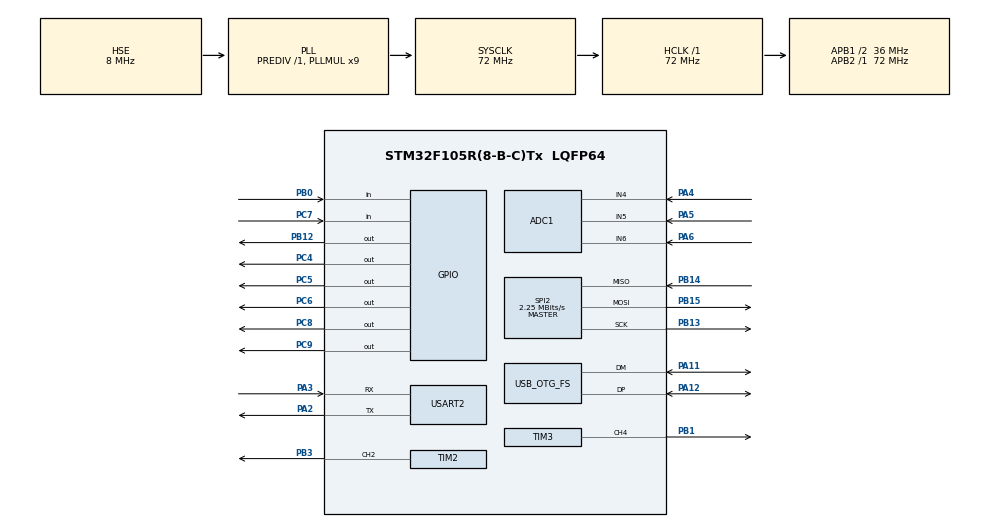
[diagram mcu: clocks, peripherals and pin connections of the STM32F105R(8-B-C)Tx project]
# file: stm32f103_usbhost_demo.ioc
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ADC1.Channel-1\#ChannelRegularConversion=ADC_CHANNEL_4
ADC1.Channel-2\#ChannelRegularConversion=ADC_CHANNEL_5
ADC1.Channel-3\#ChannelRegularConversion=ADC_CHANNEL_6
ADC1.ContinuousConvMode=ENABLE
ADC1.NbrOfConversion=3
ADC1.NbrOfConversionFlag=1
ADC1.Rank-1\#ChannelRegularConversion=1
ADC1.Rank-2\#ChannelRegularConversion=2
ADC1.Rank-3\#ChannelRegularConversion=3
ADC1.SamplingTime-1\#ChannelRegularConversion=ADC_SAMPLETIME_239CYCLES_5
ADC1.SamplingTime-2\#ChannelRegularConversion=ADC_SAMPLETIME_239CYCLES_5
ADC1.SamplingTime-3\#ChannelRegularConversion=ADC_SAMPLETIME_239CYCLES_5
ADC1.master=1
Dma.ADC1.2.Direction=DMA_PERIPH_TO_MEMORY
Dma.ADC1.2.Instance=DMA1_Channel1
Dma.ADC1.2.MemDataAlignment=DMA_MDATAALIGN_HALFWORD
Dma.ADC1.2.MemInc=DMA_MINC_ENABLE
Dma.ADC1.2.Mode=DMA_CIRCULAR
Dma.ADC1.2.PeriphDataAlignment=DMA_PDATAALIGN_HALFWORD
Dma.ADC1.2.PeriphInc=DMA_PINC_DISABLE
Dma.ADC1.2.Priority=DMA_PRIORITY_LOW
Dma.Request0=TIM3_CH4/UP
Dma.Request1=SPI2_TX
Dma.Request2=ADC1
Dma.SPI2_TX.1.Direction=DMA_MEMORY_TO_PERIPH
Dma.SPI2_TX.1.Instance=DMA1_Channel5
Dma.SPI2_TX.1.MemDataAlignment=DMA_MDATAALIGN_BYTE
Dma.SPI2_TX.1.MemInc=DMA_MINC_ENABLE
Dma.SPI2_TX.1.Mode=DMA_NORMAL
Dma.SPI2_TX.1.PeriphDataAlignment=DMA_PDATAALIGN_BYTE
Dma.SPI2_TX.1.PeriphInc=DMA_PINC_DISABLE
Dma.SPI2_TX.1.Priority=DMA_PRIORITY_VERY_HIGH
Dma.TIM3_CH4/UP.0.Direction=DMA_MEMORY_TO_PERIPH
Dma.TIM3_CH4/UP.0.Instance=DMA1_Channel3
Dma.TIM3_CH4/UP.0.MemDataAlignment=DMA_MDATAALIGN_HALFWORD
Dma.TIM3_CH4/UP.0.MemInc=DMA_MINC_ENABLE
Dma.TIM3_CH4/UP.0.Mode=DMA_NORMAL
Dma.TIM3_CH4/UP.0.PeriphDataAlignment=DMA_PDATAALIGN_HALFWORD
Dma.TIM3_CH4/UP.0.PeriphInc=DMA_PINC_DISABLE
Dma.TIM3_CH4/UP.0.Priority=DMA_PRIORITY_LOW
FATFS._USE_FIND=1
FATFS._USE_MKFS=0
FREERTOS.Tasks01=defaultTask,0,256,StartDefaultTask,Default,NULL,Dynamic,NULL,NULL;myTask02,-3,256,StartTask02,Default,NULL,Dynamic,NULL,NULL
Mcu.Family=STM32F1
Mcu.Name=STM32F105R(8-B-C)Tx
Mcu.Package=LQFP64
NVIC.ADC1_2_IRQn=true\:5\:0\:false\:false\:true\:true\:true\:true\:true
NVIC.DMA1_Channel1_IRQn=true\:5\:0\:false\:false\:true\:true\:false\:true\:true
NVIC.DMA1_Channel3_IRQn=true\:5\:0\:false\:false\:true\:true\:false\:true\:true
NVIC.DMA1_Channel5_IRQn=true\:5\:0\:false\:false\:true\:true\:false\:true\:true
NVIC.OTG_FS_IRQn=true\:5\:0\:false\:false\:true\:true\:true\:true\:true
NVIC.PriorityGroup=NVIC_PRIORITYGROUP_4
NVIC.TIM3_IRQn=true\:5\:0\:false\:false\:true\:true\:true\:true\:true
NVIC.TIM7_IRQn=true\:15\:0\:false\:false\:true\:false\:false\:true\:true
NVIC.TimeBase=TIM7_IRQn
NVIC.TimeBaseIP=TIM7
NVIC.USART2_IRQn=true\:5\:0\:false\:false\:true\:true\:true\:true\:true
PA11.Mode=Host_Only
PA11.Signal=USB_OTG_FS_DM
PA12.Mode=Host_Only
PA12.Signal=USB_OTG_FS_DP
PA13.Mode=Serial_Wire
PA13.Signal=SYS_JTMS-SWDIO
PA14.Mode=Serial_Wire
PA14.Signal=SYS_JTCK-SWCLK
PA2.Mode=Asynchronous
PA2.Signal=USART2_TX
PA3.Mode=Asynchronous
PA3.Signal=USART2_RX
PA4.Signal=ADCx_IN4
PA5.Signal=ADCx_IN5
PA6.Signal=ADCx_IN6
PB0.Signal=GPIO_Input
PB1.Signal=S_TIM3_CH4
PB12.Signal=GPIO_Output
PB13.Mode=Full_Duplex_Master
PB13.Signal=SPI2_SCK
PB14.Mode=Full_Duplex_Master
PB14.Signal=SPI2_MISO
PB15.Mode=Full_Duplex_Master
PB15.Signal=SPI2_MOSI
PB3.Signal=S_TIM2_CH2
PC14-OSC32_IN.Mode=LSE-External-Oscillator
PC14-OSC32_IN.Signal=RCC_OSC32_IN
PC15-OSC32_OUT.Mode=LSE-External-Oscillator
PC15-OSC32_OUT.Signal=RCC_OSC32_OUT
PC4.Signal=GPIO_Output
PC5.Signal=GPIO_Output
PC6.Signal=GPIO_Output
PC7.GPIO_PuPd=GPIO_PULLUP
PC7.Signal=GPIO_Input
PC8.Signal=GPIO_Output
PC9.GPIO_ModeDefaultOutputPP=GPIO_MODE_OUTPUT_OD
PC9.GPIO_PuPd=GPIO_NOPULL
PC9.GPIO_Speed=GPIO_SPEED_FREQ_LOW
PC9.PinState=GPIO_PIN_RESET
PC9.Signal=GPIO_Output
PD0-OSC_IN.Mode=HSE-External-Oscillator
PD0-OSC_IN.Signal=RCC_OSC_IN
PD1-OSC_OUT.Mode=HSE-External-Oscillator
PD1-OSC_OUT.Signal=RCC_OSC_OUT
ProjectManager.HeapSize=0x2000
ProjectManager.StackSize=0x2000
ProjectManager.TargetToolchain=MDK-ARM V5.32
RCC.ADCPresc=RCC_ADCPCLK2_DIV6
RCC.AHBFreq_Value=72000000
RCC.APB1CLKDivider=RCC_HCLK_DIV2
RCC.APB1Freq_Value=36000000
RCC.APB1TimFreq_Value=72000000
RCC.APB2Freq_Value=72000000
RCC.APB2TimFreq_Value=72000000
RCC.HCLKFreq_Value=72000000
RCC.PLLMUL=RCC_PLL_MUL9
RCC.SYSCLKFreq_VALUE=72000000
RCC.SYSCLKSource=RCC_SYSCLKSOURCE_PLLCLK
RCC.USBFreq_Value=48000000
SH.ADCx_IN4.0=ADC1_IN4,IN4
SH.ADCx_IN5.0=ADC1_IN5,IN5
SH.ADCx_IN6.0=ADC1_IN6,IN6
SH.S_TIM2_CH2.0=TIM2_CH2,PWM Generation2 CH2
SH.S_TIM3_CH4.0=TIM3_CH4,PWM Generation4 CH4
SPI2.BaudRatePrescaler=SPI_BAUDRATEPRESCALER_16
SPI2.CalculateBaudRate=2.25 MBits/s
SPI2.Direction=SPI_DIRECTION_2LINES
SPI2.Mode=SPI_MODE_MASTER
SPI2.VirtualType=VM_MASTER
TIM2.Channel-PWM\ Generation2\ CH2=TIM_CHANNEL_2
TIM2.Period=7200 - 1
TIM3.Channel-PWM\ Generation4\ CH4=TIM_CHANNEL_4
TIM3.Period=89
USART2.VirtualMode=VM_ASYNC
USB_HOST.USBH_DEBUG_LEVEL=3
USB_HOST.USBH_HandleTypeDef=hUsbHostFS
USB_HOST.USBH_USE_OS-MSC_FS=0
USB_HOST.VirtualModeFS=Msc
USB_OTG_FS.VirtualMode=Host_Only
VP_FATFS_VS_USB.Mode=USB
VP_FREERTOS_VS_CMSIS_V1.Mode=CMSIS_V1
VP_SYS_VS_tim7.Mode=TIM7
VP_TIM2_VS_ClockSourceINT.Mode=Internal
VP_TIM3_VS_ClockSourceINT.Mode=Internal
VP_USB_HOST_VS_USB_HOST_MSC_FS.Mode=MSC_FS
board=custom

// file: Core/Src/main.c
/* USER CODE BEGIN Header */
/**
  ******************************************************************************
  * @file           : main.c
  * @brief          : Main program body
  ******************************************************************************
  * @attention
  *
  * Copyright (c) 2024 STMicroelectronics.
  * All rights reserved.
  *
  * This software is licensed under terms that can be found in the LICENSE file
  * in the root directory of this software component.
  * If no LICENSE file comes with this software, it is provided AS-IS.
  *
  ******************************************************************************
  */
/* USER CODE END Header */
#include "main.h"
#include "cmsis_os.h"
#include "adc.h"
#include "dma.h"
#include "fatfs.h"
#include "spi.h"
#include "tim.h"
#include "usart.h"
#include "usb_host.h"
#include "gpio.h"

/* USER CODE BEGIN Includes */
#include "ws2812.h"
#include "vs1003.h"
#include "playaudio.h"
/* USER CODE END Includes */

/* USER CODE BEGIN PD */
FATFS USBDISKFatFs;           /* File system object for USB disk logical drive */
FIL MyFile;                   /* File object */
uint16_t adcBuff[3] = {0};
extern ApplicationTypeDef Appli_state;
extern USBH_HandleTypeDef hUsbHostFS;
extern ApplicationTypeDef Appli_state;
/* USER CODE END PD */

void SystemClock_Config(void);
void MX_FREERTOS_Init(void);

/* USER CODE BEGIN 0 */
void Traverse_Directory(const char* path)
{
    FRESULT fr;
    DIR dir;
    FILINFO fno;

    fr = f_opendir(&dir, path); /* 打开目录 */
    if (fr == FR_OK)
    {
			for (;;)
			 {
					fr = f_readdir(&dir, &fno); /* 读取一个目录项 */
					if (fr != FR_OK || fno.fname[0] == 0) break;
					if (fno.fname[0] == '.') continue;
					// 如果是子目录，递归遍历
					if (fno.fattrib & AM_DIR)
					{
							char subdir[64];
							sprintf(subdir, "%s/%s", path, fno.fname);
							Traverse_Directory(subdir);
					} else
					{
							// 如果是文件，可以在这里处理
							printf("%s/%s\n", path, fno.fname);
					}
			}
			f_closedir(&dir); /* 关闭目录 */
    }
}

void MSC_Application(void)
{
  FRESULT res;                                          /* FatFs function common result code */
  res = f_mount(&USBDISKFatFs, (TCHAR const*)USBHPath, 0);
  if(res != FR_OK)
  {
    /* FatFs Initialization Error */
    USBH_UsrLog("f_mount error: %d", res);
    Error_Handler();
  }
	/* 遍历目录 */
	Traverse_Directory("0:");
	VS1003_PlayMusic_2("0:/111.mp3");
  /* Unlink the USB disk I/O driver */
//  FATFS_UnLinkDriver(USBHPath);
}

/* USER CODE END 0 */

int main(void)
{

  /* MCU Configuration--------------------------------------------------------*/

  /* Reset of all peripherals, Initializes the Flash interface and the Systick. */
  HAL_Init();

  /* Configure the system clock */
  SystemClock_Config();

  /* Initialize all configured peripherals */
  MX_GPIO_Init();
  MX_DMA_Init();
  MX_FATFS_Init();
  MX_USART2_UART_Init();
  MX_TIM3_Init();
  MX_SPI2_Init();
  MX_ADC1_Init();
  MX_TIM2_Init();
  /* USER CODE BEGIN 2 */

	HAL_ADCEx_Calibration_Start(&hadc1);
	HAL_ADC_Start_DMA(&hadc1, (uint32_t *)adcBuff, 3);
	WS2812B_Init();

	VS1003_Reset();
	VS1003_SoftReset();
	printf("run..\r\n");
//	VS1003_RamTest();
	//printf("mode register val = %0x..\r\n", VS1003_ReadReg(SPI_MODE));
//	VS1003_CheckSCICmdReady();
//	VS1003_PlayMusic();

  /* USER CODE END 2 */

  /* Call init function for freertos objects (in freertos.c) */
  MX_FREERTOS_Init();

  /* Start scheduler */
  osKernelStart();

  /* We should never get here as control is now taken by the scheduler */
  /* Infinite loop */
  while (1)
  {

    /* USER CODE BEGIN 3 */
		switch(Appli_state)
    {
      case APPLICATION_READY:
        printf("ready ok\n");
				MSC_Application();
        Appli_state = APPLICATION_IDLE;
        break;

      case APPLICATION_IDLE:
      default:
        break;
    }
		rainbowCycle(5);
		WS2812_show();
		printf("%d,%d,%d\r\n", adcBuff[0], adcBuff[1], adcBuff[2]);

  }
  /* USER CODE END 3 */
}

void SystemClock_Config(void)
{
  RCC_OscInitTypeDef RCC_OscInitStruct = {0};
  RCC_ClkInitTypeDef RCC_ClkInitStruct = {0};
  RCC_PeriphCLKInitTypeDef PeriphClkInit = {0};

  /** Initializes the RCC Oscillators according to the specified parameters
  * in the RCC_OscInitTypeDef structure.
  */
  RCC_OscInitStruct.OscillatorType = RCC_OSCILLATORTYPE_HSE;
  RCC_OscInitStruct.HSEState = RCC_HSE_ON;
  RCC_OscInitStruct.HSEPredivValue = RCC_HSE_PREDIV_DIV1;
  RCC_OscInitStruct.HSIState = RCC_HSI_ON;
  RCC_OscInitStruct.Prediv1Source = RCC_PREDIV1_SOURCE_HSE;
  RCC_OscInitStruct.PLL.PLLState = RCC_PLL_ON;
  RCC_OscInitStruct.PLL.PLLSource = RCC_PLLSOURCE_HSE;
  RCC_OscInitStruct.PLL.PLLMUL = RCC_PLL_MUL9;
  RCC_OscInitStruct.PLL2.PLL2State = RCC_PLL_NONE;
  if (HAL_RCC_OscConfig(&RCC_OscInitStruct) != HAL_OK)
  {
    Error_Handler();
  }

  /** Initializes the CPU, AHB and APB buses clocks
  */
  RCC_ClkInitStruct.ClockType = RCC_CLOCKTYPE_HCLK|RCC_CLOCKTYPE_SYSCLK
                              |RCC_CLOCKTYPE_PCLK1|RCC_CLOCKTYPE_PCLK2;
  RCC_ClkInitStruct.SYSCLKSource = RCC_SYSCLKSOURCE_PLLCLK;
  RCC_ClkInitStruct.AHBCLKDivider = RCC_SYSCLK_DIV1;
  RCC_ClkInitStruct.APB1CLKDivider = RCC_HCLK_DIV2;
  RCC_ClkInitStruct.APB2CLKDivider = RCC_HCLK_DIV1;

  if (HAL_RCC_ClockConfig(&RCC_ClkInitStruct, FLASH_LATENCY_2) != HAL_OK)
  {
    Error_Handler();
  }
  PeriphClkInit.PeriphClockSelection = RCC_PERIPHCLK_ADC|RCC_PERIPHCLK_USB;
  PeriphClkInit.AdcClockSelection = RCC_ADCPCLK2_DIV6;
  PeriphClkInit.UsbClockSelection = RCC_USBCLKSOURCE_PLL_DIV3;
  if (HAL_RCCEx_PeriphCLKConfig(&PeriphClkInit) != HAL_OK)
  {
    Error_Handler();
  }

  /** Configure the Systick interrupt time
  */
  __HAL_RCC_PLLI2S_ENABLE();
}

void HAL_TIM_PeriodElapsedCallback(TIM_HandleTypeDef *htim)
{
  if (htim->Instance == TIM7) {
    HAL_IncTick();
  }
}

void Error_Handler(void)
{
  __disable_irq();
  while (1)
  {
  }
}

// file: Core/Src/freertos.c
/* USER CODE BEGIN Header */
/**
  ******************************************************************************
  * File Name          : freertos.c
  * Description        : Code for freertos applications
  ******************************************************************************
  * @attention
  *
  * Copyright (c) 2024 STMicroelectronics.
  * All rights reserved.
  *
  * This software is licensed under terms that can be found in the LICENSE file
  * in the root directory of this software component.
  * If no LICENSE file comes with this software, it is provided AS-IS.
  *
  ******************************************************************************
  */
/* USER CODE END Header */

#include "FreeRTOS.h"
#include "task.h"
#include "main.h"
#include "cmsis_os.h"

/* USER CODE BEGIN Includes */
#include "usbh_core.h"
#include "usb_host.h"
#include "ws2812.h"
#include "gpio.h"
/* USER CODE END Includes */

/* USER CODE BEGIN PTD */
extern USBH_HandleTypeDef hUsbHostFS;
extern ApplicationTypeDef Appli_state;
extern UART_HandleTypeDef huart2;
/* USER CODE END PTD */

osThreadId defaultTaskHandle;
osThreadId myTask02Handle;

void StartDefaultTask(void const * argument);
void StartTask02(void const * argument);

extern void MX_USB_HOST_Init(void);
void MX_FREERTOS_Init(void); /* (MISRA C 2004 rule 8.1) */

/* GetIdleTaskMemory prototype (linked to static allocation support) */
void vApplicationGetIdleTaskMemory( StaticTask_t **ppxIdleTaskTCBBuffer, StackType_t **ppxIdleTaskStackBuffer, uint32_t *pulIdleTaskStackSize );

/* USER CODE BEGIN GET_IDLE_TASK_MEMORY */
static StaticTask_t xIdleTaskTCBBuffer;
static StackType_t xIdleStack[configMINIMAL_STACK_SIZE];

void vApplicationGetIdleTaskMemory( StaticTask_t **ppxIdleTaskTCBBuffer, StackType_t **ppxIdleTaskStackBuffer, uint32_t *pulIdleTaskStackSize )
{
  *ppxIdleTaskTCBBuffer = &xIdleTaskTCBBuffer;
  *ppxIdleTaskStackBuffer = &xIdleStack[0];
  *pulIdleTaskStackSize = configMINIMAL_STACK_SIZE;
  /* place for user code */
}
/* USER CODE END GET_IDLE_TASK_MEMORY */

void MX_FREERTOS_Init(void) {

  /* Create the thread(s) */
  /* definition and creation of defaultTask */
  osThreadDef(defaultTask, StartDefaultTask, osPriorityNormal, 0, 256);
  defaultTaskHandle = osThreadCreate(osThread(defaultTask), NULL);

  /* definition and creation of myTask02 */
  osThreadDef(myTask02, StartTask02, osPriorityIdle, 0, 256);
  myTask02Handle = osThreadCreate(osThread(myTask02), NULL);

}

void StartDefaultTask(void const * argument)
{
  /* init code for USB_HOST */
  MX_USB_HOST_Init();
  /* USER CODE BEGIN StartDefaultTask */
  /* Infinite loop */
  for(;;)
  {
		osMessagePut(hUsbHostFS.os_event, 1, 10);
		switch(Appli_state)
		{
			case APPLICATION_START:
			{
				break;
			}
			case APPLICATION_READY:
			{
				 //HAL_UART_Transmit_DMA(&huart2, usbConnected, sizeof(usbConnected));
				printf("usb connected\r\n");
//				HAL_UART_Transmit(&huart2, usbConnected, sizeof(usbConnected), 0x00ff);
				Appli_state = APPLICATION_IDLE;
				break;
			}
			case APPLICATION_DISCONNECT:
			{
				break;
			}
			case APPLICATION_IDLE:
			{
				break;
			}
			default:
			{
				break;
			}
		}
		osDelay(10);
	}
  /* USER CODE END StartDefaultTask */
}

void StartTask02(void const * argument)
{
  /* USER CODE BEGIN StartTask02 */
  /* Infinite loop */
  for(;;)
  {
		rainbowCycle(5);
		WS2812_show();
    osDelay(1);
  }
  /* USER CODE END StartTask02 */
}
